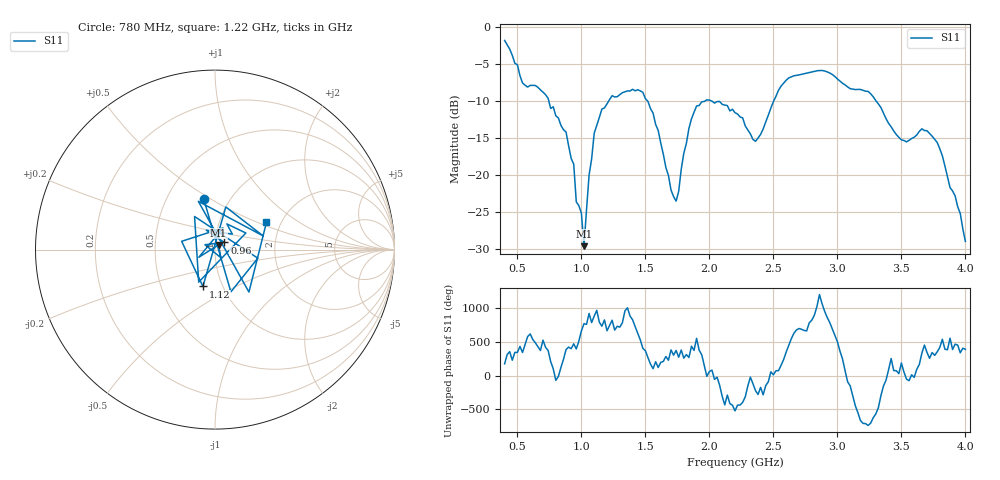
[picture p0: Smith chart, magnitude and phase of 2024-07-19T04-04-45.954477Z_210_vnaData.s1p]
!Created with skrf (http://scikit-rf.org).
# Hz S RI R 50.0
!freq ReS11 ImS11
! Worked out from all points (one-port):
!   181 points, 400 MHz to 4 GHz, reference 50 ohm
!   lowest |S11| = -29.6 dB at 1.02 GHz (marker M1), VSWR 1.07, Z = 52 + j2.73 ohm
!   |S11| at or under -10 dB: 745.5 MHz to 1.213 GHz (467.3 MHz wide, 47.7 % of centre); 2.02 GHz to 2.502 GHz (482 MHz wide, 21.3 % of centre); 3.303 GHz to end of sweep (the widest 3 of 4)
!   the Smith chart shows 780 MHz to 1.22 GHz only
!   S11 on the Smith chart (normalised r, x): 780 MHz: 0.76, +0.47; 960 MHz: 1.11, +0.09; 1.12 GHz: 0.81, -0.35; 1.22 GHz: 1.68, +0.57
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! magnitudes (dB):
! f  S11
! 400 MHz  -1.8
! 540 MHz  -7.5
! 780 MHz  -10.8
! 860 MHz  -13.9
! 940 MHz  -18.5
! 960 MHz  -23.6
! 1 GHz  -25.2
! 1.02 GHz  -29.6
! 1.06 GHz  -20.0
! 1.12 GHz  -13.3
! 1.22 GHz  -9.8
! 1.3 GHz  -9.1
! 1.48 GHz  -8.8
! 1.6 GHz  -14.0
! 1.7 GHz  -22.0
! 1.76 GHz  -22.2
! 1.84 GHz  -13.7
! 1.9 GHz  -10.7
! 2.2 GHz  -11.6
! 2.36 GHz  -15.4
! 2.66 GHz  -6.6
! 2.9 GHz  -5.9
! 3.1 GHz  -8.3
! 3.24 GHz  -8.7
! 3.56 GHz  -15.3
! 3.66 GHz  -13.7
! 3.78 GHz  -15.6
! 4 GHz  -29.0
